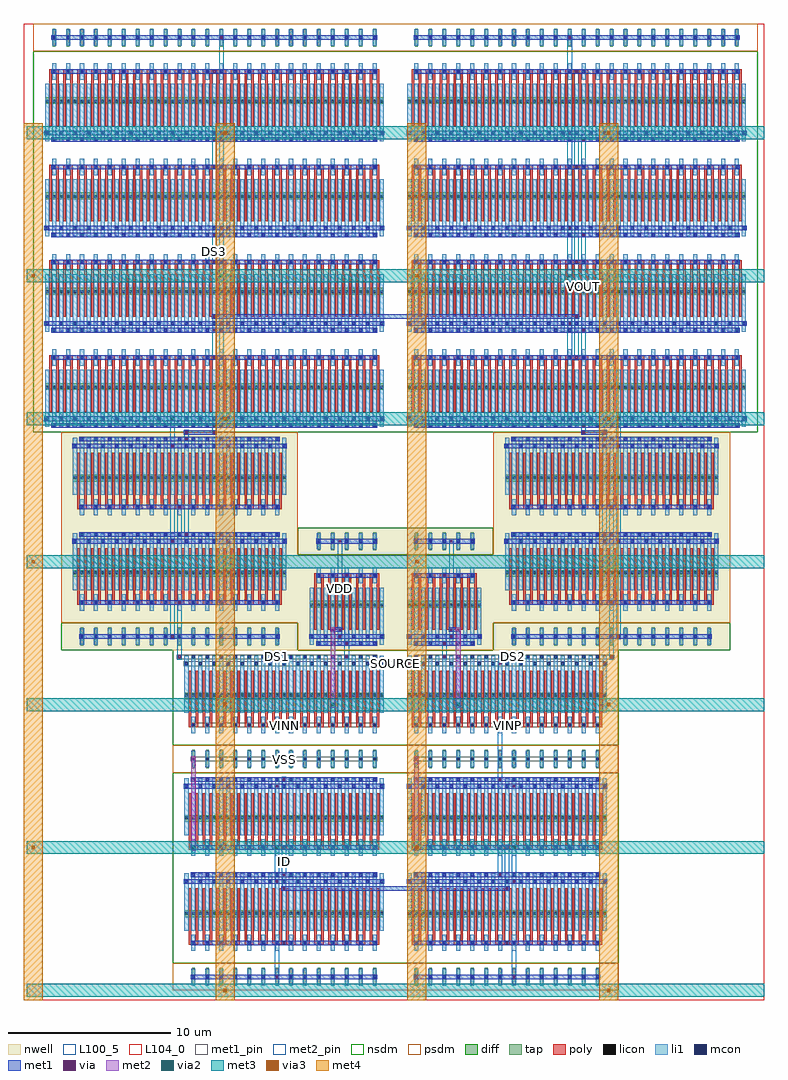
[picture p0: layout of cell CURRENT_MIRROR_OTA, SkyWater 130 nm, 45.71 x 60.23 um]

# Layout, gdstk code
import gdstk
lib = gdstk.Library(unit=1e-6, precision=1e-09)
def R(c, l, rs):  # rectangles x0, y0, x1, y1
    for r in rs: c.add(gdstk.rectangle(r[:2], r[2:], *l))
def A(c, l, x, y, w, h, nx, ny, dx, dy):  # array of equal rectangles
    R(c, l, [(x+i*dx, y+j*dy, x+i*dx+w, y+j*dy+h) for i in range(nx) for j in range(ny)])
nwell = (64, 20)
diff = (65, 20)
tap = (65, 44)
poly = (66, 20)
licon = (66, 44)
li1 = (67, 20)
mcon = (67, 44)
met1_pin = (68, 16)
met1 = (68, 20)
via = (68, 44)
met2_pin = (69, 16)
met2 = (69, 20)
via2 = (69, 44)
met3 = (70, 20)
via3 = (70, 44)
met4 = (71, 20)
nsdm = (93, 44)
psdm = (94, 20)
L100_5 = (100, 5)
L104_0 = (104, 0)

current_mirror_ota = lib.new_cell('CURRENT_MIRROR_OTA')
R(current_mirror_ota, nwell, [(1.72,21,16.34,34.44), (16.34,21,22.36,28.56), (22.36,21,28.38,28.56), (28.38,21,43,34.44)])
A(current_mirror_ota, diff, 0.735, 37.065, 20.89, 0.42, 1, 4, 0, 5.88)
A(current_mirror_ota, diff, 23.095, 37.065, 20.89, 0.42, 1, 4, 0, 5.88)
R(current_mirror_ota, diff, [(9.335,4.515,21.625,4.935), (23.095,4.515,35.385,4.935), (9.335,10.395,21.625,10.815), (23.095,10.395,35.385,10.815), (9.335,17.955,21.625,18.375), (23.095,17.955,35.385,18.375), (17.075,23.625,21.625,24.045), (23.095,23.625,27.645,24.045), (2.455,25.515,15.605,25.935), (29.115,25.515,42.265,25.935), (2.455,31.395,15.605,31.815), (29.115,31.395,42.265,31.815)])
A(current_mirror_ota, tap, 9.805, 0.28, 0.17, 1.12, 14, 2, 0.86, 13.44)
A(current_mirror_ota, tap, 23.565, 0.28, 0.17, 1.12, 14, 2, 0.86, 13.44)
A(current_mirror_ota, tap, 2.925, 21.28, 0.17, 1.12, 15, 1, 0.86, 0)
A(current_mirror_ota, tap, 29.585, 21.28, 0.17, 1.12, 15, 1, 0.86, 0)
A(current_mirror_ota, tap, 17.545, 27.16, 0.17, 1.12, 5, 1, 0.86, 0)
A(current_mirror_ota, tap, 23.565, 27.16, 0.17, 1.12, 5, 1, 0.86, 0)
A(current_mirror_ota, tap, 1.205, 58.24, 0.17, 1.12, 24, 1, 0.86, 0)
A(current_mirror_ota, tap, 23.565, 58.24, 0.17, 1.12, 24, 1, 0.86, 0)
A(current_mirror_ota, poly, 9.6, 2.805, 0.58, 0.27, 14, 2, 0.86, 5.88)
A(current_mirror_ota, poly, 23.36, 2.805, 0.58, 0.27, 14, 2, 0.86, 5.88)
A(current_mirror_ota, poly, 9.6, 2.94, 0.15, 3.36, 28, 2, 0.43, 5.88)
A(current_mirror_ota, poly, 23.36, 2.94, 0.15, 3.36, 28, 2, 0.43, 5.88)
A(current_mirror_ota, poly, 9.6, 16.245, 0.58, 0.27, 14, 1, 0.86, 0)
A(current_mirror_ota, poly, 23.36, 16.245, 0.58, 0.27, 14, 1, 0.86, 0)
A(current_mirror_ota, poly, 9.6, 16.38, 0.15, 3.36, 28, 1, 0.43, 0)
A(current_mirror_ota, poly, 23.36, 16.38, 0.15, 3.36, 28, 1, 0.43, 0)
A(current_mirror_ota, poly, 17.34, 22.26, 0.15, 3.36, 10, 1, 0.43, 0)
A(current_mirror_ota, poly, 23.36, 22.26, 0.15, 3.36, 10, 1, 0.43, 0)
A(current_mirror_ota, poly, 2.72, 23.805, 0.58, 0.27, 15, 2, 0.86, 5.88)
A(current_mirror_ota, poly, 29.38, 23.805, 0.58, 0.27, 15, 2, 0.86, 5.88)
A(current_mirror_ota, poly, 2.72, 23.94, 0.15, 3.36, 30, 2, 0.43, 5.88)
A(current_mirror_ota, poly, 29.38, 23.94, 0.15, 3.36, 30, 2, 0.43, 5.88)
A(current_mirror_ota, poly, 17.34, 25.485, 0.58, 0.27, 5, 1, 0.86, 0)
A(current_mirror_ota, poly, 23.36, 25.485, 0.58, 0.27, 5, 1, 0.86, 0)
A(current_mirror_ota, poly, 1, 35.7, 0.15, 3.36, 48, 4, 0.43, 5.88)
A(current_mirror_ota, poly, 23.36, 35.7, 0.15, 3.36, 48, 4, 0.43, 5.88)
A(current_mirror_ota, poly, 1, 38.925, 0.58, 0.27, 24, 4, 0.86, 5.88)
A(current_mirror_ota, poly, 23.36, 38.925, 0.58, 0.27, 24, 4, 0.86, 5.88)
A(current_mirror_ota, licon, 9.805, 2.855, 0.17, 0.17, 14, 2, 0.86, 5.88)
A(current_mirror_ota, licon, 23.565, 2.855, 0.17, 0.17, 14, 2, 0.86, 5.88)
A(current_mirror_ota, licon, 9.375, 4.685, 0.17, 0.17, 3, 2, 0.43, 5.88)
A(current_mirror_ota, licon, 10.235, 4.685, 0.17, 0.17, 3, 2, 0.43, 5.88)
A(current_mirror_ota, licon, 11.095, 4.685, 0.17, 0.17, 3, 2, 0.43, 5.88)
A(current_mirror_ota, licon, 11.955, 4.685, 0.17, 0.17, 3, 2, 0.43, 5.88)
A(current_mirror_ota, licon, 12.815, 4.685, 0.17, 0.17, 3, 2, 0.43, 5.88)
A(current_mirror_ota, licon, 13.675, 4.685, 0.17, 0.17, 3, 2, 0.43, 5.88)
A(current_mirror_ota, licon, 14.535, 4.685, 0.17, 0.17, 3, 2, 0.43, 5.88)
A(current_mirror_ota, licon, 15.395, 4.685, 0.17, 0.17, 3, 2, 0.43, 5.88)
A(current_mirror_ota, licon, 16.255, 4.685, 0.17, 0.17, 3, 2, 0.43, 5.88)
A(current_mirror_ota, licon, 17.115, 4.685, 0.17, 0.17, 3, 2, 0.43, 5.88)
A(current_mirror_ota, licon, 17.975, 4.685, 0.17, 0.17, 3, 2, 0.43, 5.88)
A(current_mirror_ota, licon, 18.835, 4.685, 0.17, 0.17, 3, 2, 0.43, 5.88)
A(current_mirror_ota, licon, 19.695, 4.685, 0.17, 0.17, 3, 2, 0.43, 5.88)
A(current_mirror_ota, licon, 20.555, 4.685, 0.17, 0.17, 3, 2, 0.43, 5.88)
A(current_mirror_ota, licon, 23.135, 4.685, 0.17, 0.17, 3, 2, 0.43, 5.88)
A(current_mirror_ota, licon, 23.995, 4.685, 0.17, 0.17, 3, 2, 0.43, 5.88)
A(current_mirror_ota, licon, 24.855, 4.685, 0.17, 0.17, 3, 2, 0.43, 5.88)
A(current_mirror_ota, licon, 25.715, 4.685, 0.17, 0.17, 3, 2, 0.43, 5.88)
A(current_mirror_ota, licon, 26.575, 4.685, 0.17, 0.17, 3, 2, 0.43, 5.88)
A(current_mirror_ota, licon, 27.435, 4.685, 0.17, 0.17, 3, 2, 0.43, 5.88)
A(current_mirror_ota, licon, 28.295, 4.685, 0.17, 0.17, 3, 2, 0.43, 5.88)
A(current_mirror_ota, licon, 29.155, 4.685, 0.17, 0.17, 3, 2, 0.43, 5.88)
A(current_mirror_ota, licon, 30.015, 4.685, 0.17, 0.17, 3, 2, 0.43, 5.88)
A(current_mirror_ota, licon, 30.875, 4.685, 0.17, 0.17, 3, 2, 0.43, 5.88)
A(current_mirror_ota, licon, 31.735, 4.685, 0.17, 0.17, 3, 2, 0.43, 5.88)
A(current_mirror_ota, licon, 32.595, 4.685, 0.17, 0.17, 3, 2, 0.43, 5.88)
A(current_mirror_ota, licon, 33.455, 4.685, 0.17, 0.17, 3, 2, 0.43, 5.88)
A(current_mirror_ota, licon, 34.315, 4.685, 0.17, 0.17, 3, 2, 0.43, 5.88)
A(current_mirror_ota, licon, 9.805, 14.195, 0.17, 0.17, 14, 2, 0.86, 2.1)
A(current_mirror_ota, licon, 23.565, 14.195, 0.17, 0.17, 14, 2, 0.86, 2.1)
A(current_mirror_ota, licon, 9.375, 18.125, 0.17, 0.17, 3, 2, 0.43, 7.56)
A(current_mirror_ota, licon, 10.235, 18.125, 0.17, 0.17, 3, 2, 0.43, 7.56)
A(current_mirror_ota, licon, 11.095, 18.125, 0.17, 0.17, 3, 2, 0.43, 7.56)
A(current_mirror_ota, licon, 11.955, 18.125, 0.17, 0.17, 3, 2, 0.43, 7.56)
A(current_mirror_ota, licon, 12.815, 18.125, 0.17, 0.17, 3, 2, 0.43, 7.56)
A(current_mirror_ota, licon, 13.675, 18.125, 0.17, 0.17, 3, 2, 0.43, 7.56)
A(current_mirror_ota, licon, 14.535, 18.125, 0.17, 0.17, 3, 2, 0.43, 7.56)
A(current_mirror_ota, licon, 15.395, 18.125, 0.17, 0.17, 3, 2, 0.43, 19.02)
A(current_mirror_ota, licon, 16.255, 18.125, 0.17, 0.17, 3, 2, 0.43, 19.02)
A(current_mirror_ota, licon, 17.115, 18.125, 0.17, 0.17, 3, 2, 0.43, 5.58)
A(current_mirror_ota, licon, 17.975, 18.125, 0.17, 0.17, 3, 2, 0.43, 5.58)
A(current_mirror_ota, licon, 18.835, 18.125, 0.17, 0.17, 3, 2, 0.43, 5.58)
A(current_mirror_ota, licon, 19.695, 18.125, 0.17, 0.17, 3, 2, 0.43, 5.58)
A(current_mirror_ota, licon, 20.555, 18.125, 0.17, 0.17, 3, 2, 0.43, 5.58)
A(current_mirror_ota, licon, 23.135, 18.125, 0.17, 0.17, 3, 2, 0.43, 5.58)
A(current_mirror_ota, licon, 23.995, 18.125, 0.17, 0.17, 3, 2, 0.43, 5.58)
A(current_mirror_ota, licon, 24.855, 18.125, 0.17, 0.17, 3, 2, 0.43, 5.58)
A(current_mirror_ota, licon, 25.715, 18.125, 0.17, 0.17, 3, 2, 0.43, 5.58)
A(current_mirror_ota, licon, 26.575, 18.125, 0.17, 0.17, 3, 2, 0.43, 5.58)
A(current_mirror_ota, licon, 27.435, 18.125, 0.17, 0.17, 3, 2, 0.43, 19.02)
A(current_mirror_ota, licon, 28.295, 18.125, 0.17, 0.17, 3, 2, 0.43, 19.02)
A(current_mirror_ota, licon, 29.155, 18.125, 0.17, 0.17, 3, 2, 0.43, 7.56)
A(current_mirror_ota, licon, 30.015, 18.125, 0.17, 0.17, 3, 2, 0.43, 7.56)
A(current_mirror_ota, licon, 30.875, 18.125, 0.17, 0.17, 3, 2, 0.43, 7.56)
A(current_mirror_ota, licon, 31.735, 18.125, 0.17, 0.17, 3, 2, 0.43, 7.56)
A(current_mirror_ota, licon, 32.595, 18.125, 0.17, 0.17, 3, 2, 0.43, 7.56)
A(current_mirror_ota, licon, 33.455, 18.125, 0.17, 0.17, 3, 2, 0.43, 7.56)
A(current_mirror_ota, licon, 34.315, 18.125, 0.17, 0.17, 3, 2, 0.43, 7.56)
A(current_mirror_ota, licon, 2.925, 23.855, 0.17, 0.17, 15, 2, 0.86, 5.88)
A(current_mirror_ota, licon, 29.585, 23.855, 0.17, 0.17, 15, 2, 0.86, 5.88)
A(current_mirror_ota, licon, 17.545, 25.535, 0.17, 0.17, 5, 2, 0.86, 2.1)
A(current_mirror_ota, licon, 23.565, 25.535, 0.17, 0.17, 5, 2, 0.86, 2.1)
A(current_mirror_ota, licon, 2.495, 25.685, 0.17, 0.17, 3, 2, 0.43, 5.88)
A(current_mirror_ota, licon, 3.355, 25.685, 0.17, 0.17, 3, 2, 0.43, 5.88)
A(current_mirror_ota, licon, 4.215, 25.685, 0.17, 0.17, 3, 2, 0.43, 5.88)
A(current_mirror_ota, licon, 5.075, 25.685, 0.17, 0.17, 3, 2, 0.43, 5.88)
A(current_mirror_ota, licon, 5.935, 25.685, 0.17, 0.17, 3, 2, 0.43, 5.88)
A(current_mirror_ota, licon, 6.795, 25.685, 0.17, 0.17, 3, 2, 0.43, 5.88)
A(current_mirror_ota, licon, 7.655, 25.685, 0.17, 0.17, 3, 2, 0.43, 5.88)
A(current_mirror_ota, licon, 8.515, 25.685, 0.17, 0.17, 3, 2, 0.43, 5.88)
A(current_mirror_ota, licon, 35.175, 25.685, 0.17, 0.17, 3, 2, 0.43, 5.88)
A(current_mirror_ota, licon, 36.035, 25.685, 0.17, 0.17, 3, 2, 0.43, 5.88)
A(current_mirror_ota, licon, 36.895, 25.685, 0.17, 0.17, 3, 2, 0.43, 5.88)
A(current_mirror_ota, licon, 37.755, 25.685, 0.17, 0.17, 3, 2, 0.43, 5.88)
A(current_mirror_ota, licon, 38.615, 25.685, 0.17, 0.17, 3, 2, 0.43, 5.88)
A(current_mirror_ota, licon, 39.475, 25.685, 0.17, 0.17, 3, 2, 0.43, 5.88)
A(current_mirror_ota, licon, 40.335, 25.685, 0.17, 0.17, 3, 2, 0.43, 5.88)
A(current_mirror_ota, licon, 41.195, 25.685, 0.17, 0.17, 3, 2, 0.43, 5.88)
A(current_mirror_ota, licon, 9.375, 31.565, 0.17, 0.17, 3, 2, 0.43, 5.58)
A(current_mirror_ota, licon, 10.235, 31.565, 0.17, 0.17, 3, 2, 0.43, 5.58)
A(current_mirror_ota, licon, 11.095, 31.565, 0.17, 0.17, 3, 2, 0.43, 5.58)
A(current_mirror_ota, licon, 11.955, 31.565, 0.17, 0.17, 3, 2, 0.43, 5.58)
A(current_mirror_ota, licon, 12.815, 31.565, 0.17, 0.17, 3, 2, 0.43, 5.58)
A(current_mirror_ota, licon, 13.675, 31.565, 0.17, 0.17, 3, 2, 0.43, 5.58)
A(current_mirror_ota, licon, 14.535, 31.565, 0.17, 0.17, 3, 2, 0.43, 5.58)
A(current_mirror_ota, licon, 29.155, 31.565, 0.17, 0.17, 3, 2, 0.43, 5.58)
A(current_mirror_ota, licon, 30.015, 31.565, 0.17, 0.17, 3, 2, 0.43, 5.58)
A(current_mirror_ota, licon, 30.875, 31.565, 0.17, 0.17, 3, 2, 0.43, 5.58)
A(current_mirror_ota, licon, 31.735, 31.565, 0.17, 0.17, 3, 2, 0.43, 5.58)
A(current_mirror_ota, licon, 32.595, 31.565, 0.17, 0.17, 3, 2, 0.43, 5.58)
A(current_mirror_ota, licon, 33.455, 31.565, 0.17, 0.17, 3, 2, 0.43, 5.58)
A(current_mirror_ota, licon, 34.315, 31.565, 0.17, 0.17, 3, 2, 0.43, 5.58)
A(current_mirror_ota, licon, 0.775, 37.145, 0.17, 0.17, 3, 4, 0.43, 5.88)
A(current_mirror_ota, licon, 1.635, 37.145, 0.17, 0.17, 3, 4, 0.43, 5.88)
A(current_mirror_ota, licon, 2.495, 37.145, 0.17, 0.17, 3, 4, 0.43, 5.88)
A(current_mirror_ota, licon, 3.355, 37.145, 0.17, 0.17, 3, 4, 0.43, 5.88)
A(current_mirror_ota, licon, 4.215, 37.145, 0.17, 0.17, 3, 4, 0.43, 5.88)
A(current_mirror_ota, licon, 5.075, 37.145, 0.17, 0.17, 3, 4, 0.43, 5.88)
A(current_mirror_ota, licon, 5.935, 37.145, 0.17, 0.17, 3, 4, 0.43, 5.88)
A(current_mirror_ota, licon, 6.795, 37.145, 0.17, 0.17, 3, 4, 0.43, 5.88)
A(current_mirror_ota, licon, 7.655, 37.145, 0.17, 0.17, 3, 4, 0.43, 5.88)
A(current_mirror_ota, licon, 8.515, 37.145, 0.17, 0.17, 3, 4, 0.43, 5.88)
A(current_mirror_ota, licon, 17.115, 37.145, 0.17, 0.17, 3, 4, 0.43, 5.88)
A(current_mirror_ota, licon, 17.975, 37.145, 0.17, 0.17, 3, 4, 0.43, 5.88)
A(current_mirror_ota, licon, 18.835, 37.145, 0.17, 0.17, 3, 4, 0.43, 5.88)
A(current_mirror_ota, licon, 19.695, 37.145, 0.17, 0.17, 3, 4, 0.43, 5.88)
A(current_mirror_ota, licon, 20.555, 37.145, 0.17, 0.17, 3, 4, 0.43, 5.88)
A(current_mirror_ota, licon, 23.135, 37.145, 0.17, 0.17, 3, 4, 0.43, 5.88)
A(current_mirror_ota, licon, 23.995, 37.145, 0.17, 0.17, 3, 4, 0.43, 5.88)
A(current_mirror_ota, licon, 24.855, 37.145, 0.17, 0.17, 3, 4, 0.43, 5.88)
A(current_mirror_ota, licon, 25.715, 37.145, 0.17, 0.17, 3, 4, 0.43, 5.88)
A(current_mirror_ota, licon, 26.575, 37.145, 0.17, 0.17, 3, 4, 0.43, 5.88)
A(current_mirror_ota, licon, 35.175, 37.145, 0.17, 0.17, 3, 4, 0.43, 5.88)
A(current_mirror_ota, licon, 36.035, 37.145, 0.17, 0.17, 3, 4, 0.43, 5.88)
A(current_mirror_ota, licon, 36.895, 37.145, 0.17, 0.17, 3, 4, 0.43, 5.88)
A(current_mirror_ota, licon, 37.755, 37.145, 0.17, 0.17, 3, 4, 0.43, 5.88)
A(current_mirror_ota, licon, 38.615, 37.145, 0.17, 0.17, 3, 4, 0.43, 5.88)
A(current_mirror_ota, licon, 39.475, 37.145, 0.17, 0.17, 3, 4, 0.43, 5.88)
A(current_mirror_ota, licon, 40.335, 37.145, 0.17, 0.17, 3, 4, 0.43, 5.88)
A(current_mirror_ota, licon, 41.195, 37.145, 0.17, 0.17, 3, 4, 0.43, 5.88)
A(current_mirror_ota, licon, 42.055, 37.145, 0.17, 0.17, 3, 4, 0.43, 5.88)
A(current_mirror_ota, licon, 42.915, 37.145, 0.17, 0.17, 3, 4, 0.43, 5.88)
A(current_mirror_ota, licon, 1.205, 38.975, 0.17, 0.17, 24, 4, 0.86, 5.88)
A(current_mirror_ota, licon, 23.565, 38.975, 0.17, 0.17, 24, 4, 0.86, 5.88)
A(current_mirror_ota, licon, 9.375, 43.025, 0.17, 0.17, 3, 3, 0.43, 5.88)
A(current_mirror_ota, licon, 10.235, 43.025, 0.17, 0.17, 3, 3, 0.43, 5.88)
A(current_mirror_ota, licon, 11.095, 43.025, 0.17, 0.17, 3, 3, 0.43, 5.88)
A(current_mirror_ota, licon, 11.955, 43.025, 0.17, 0.17, 3, 3, 0.43, 5.88)
A(current_mirror_ota, licon, 12.815, 43.025, 0.17, 0.17, 3, 3, 0.43, 5.88)
A(current_mirror_ota, licon, 13.675, 43.025, 0.17, 0.17, 3, 3, 0.43, 5.88)
A(current_mirror_ota, licon, 14.535, 43.025, 0.17, 0.17, 3, 3, 0.43, 5.88)
A(current_mirror_ota, licon, 15.395, 43.025, 0.17, 0.17, 3, 3, 0.43, 5.88)
A(current_mirror_ota, licon, 16.255, 43.025, 0.17, 0.17, 3, 3, 0.43, 5.88)
A(current_mirror_ota, licon, 27.435, 43.025, 0.17, 0.17, 3, 3, 0.43, 5.88)
A(current_mirror_ota, licon, 28.295, 43.025, 0.17, 0.17, 3, 3, 0.43, 5.88)
A(current_mirror_ota, licon, 29.155, 43.025, 0.17, 0.17, 3, 3, 0.43, 5.88)
A(current_mirror_ota, licon, 30.015, 43.025, 0.17, 0.17, 3, 3, 0.43, 5.88)
A(current_mirror_ota, licon, 30.875, 43.025, 0.17, 0.17, 3, 3, 0.43, 5.88)
A(current_mirror_ota, licon, 31.735, 43.025, 0.17, 0.17, 3, 3, 0.43, 5.88)
A(current_mirror_ota, licon, 32.595, 43.025, 0.17, 0.17, 3, 3, 0.43, 5.88)
A(current_mirror_ota, licon, 33.455, 43.025, 0.17, 0.17, 3, 3, 0.43, 5.88)
A(current_mirror_ota, licon, 34.315, 43.025, 0.17, 0.17, 3, 3, 0.43, 5.88)
R(current_mirror_ota, licon, [(9.805,0.755,9.975,0.925), (9.805,0.755,9.975,0.925), (10.665,0.755,10.835,0.925), (10.665,0.755,10.835,0.925), (11.525,0.755,11.695,0.925), (11.525,0.755,11.695,0.925), (12.385,0.755,12.555,0.925), (12.385,0.755,12.555,0.925), (13.245,0.755,13.415,0.925), (13.245,0.755,13.415,0.925), (14.105,0.755,14.275,0.925), (14.105,0.755,14.275,0.925), (14.965,0.755,15.135,0.925), (14.965,0.755,15.135,0.925), (15.825,0.755,15.995,0.925), (15.825,0.755,15.995,0.925), (16.685,0.755,16.855,0.925), (16.685,0.755,16.855,0.925), (17.545,0.755,17.715,0.925), (17.545,0.755,17.715,0.925), (18.405,0.755,18.575,0.925), (18.405,0.755,18.575,0.925), (19.265,0.755,19.435,0.925), (19.265,0.755,19.435,0.925), (20.125,0.755,20.295,0.925), (20.125,0.755,20.295,0.925), (20.985,0.755,21.155,0.925), (20.985,0.755,21.155,0.925), (23.565,0.755,23.735,0.925), (23.565,0.755,23.735,0.925), (24.425,0.755,24.595,0.925), (24.425,0.755,24.595,0.925), (25.285,0.755,25.455,0.925), (25.285,0.755,25.455,0.925), (26.145,0.755,26.315,0.925), (26.145,0.755,26.315,0.925), (27.005,0.755,27.175,0.925), (27.005,0.755,27.175,0.925), (27.865,0.755,28.035,0.925), (27.865,0.755,28.035,0.925), (28.725,0.755,28.895,0.925), (28.725,0.755,28.895,0.925), (29.585,0.755,29.755,0.925), (29.585,0.755,29.755,0.925), (30.445,0.755,30.615,0.925), (30.445,0.755,30.615,0.925), (31.305,0.755,31.475,0.925), (31.305,0.755,31.475,0.925), (32.165,0.755,32.335,0.925), (32.165,0.755,32.335,0.925), (33.025,0.755,33.195,0.925), (33.025,0.755,33.195,0.925), (33.885,0.755,34.055,0.925), (33.885,0.755,34.055,0.925), (34.745,0.755,34.915,0.925), (34.745,0.755,34.915,0.925), (2.925,21.755,3.095,21.925), (2.925,21.755,3.095,21.925), (3.785,21.755,3.955,21.925), (3.785,21.755,3.955,21.925), (4.645,21.755,4.815,21.925), (4.645,21.755,4.815,21.925), (5.505,21.755,5.675,21.925), (5.505,21.755,5.675,21.925), (6.365,21.755,6.535,21.925), (6.365,21.755,6.535,21.925), (7.225,21.755,7.395,21.925), (7.225,21.755,7.395,21.925), (8.085,21.755,8.255,21.925), (8.085,21.755,8.255,21.925), (8.945,21.755,9.115,21.925), (8.945,21.755,9.115,21.925), (9.805,21.755,9.975,21.925), (9.805,21.755,9.975,21.925), (10.665,21.755,10.835,21.925), (10.665,21.755,10.835,21.925), (11.525,21.755,11.695,21.925), (11.525,21.755,11.695,21.925), (12.385,21.755,12.555,21.925), (12.385,21.755,12.555,21.925), (13.245,21.755,13.415,21.925), (13.245,21.755,13.415,21.925), (14.105,21.755,14.275,21.925), (14.105,21.755,14.275,21.925), (14.965,21.755,15.135,21.925), (14.965,21.755,15.135,21.925), (29.585,21.755,29.755,21.925), (29.585,21.755,29.755,21.925), (30.445,21.755,30.615,21.925), (30.445,21.755,30.615,21.925), (31.305,21.755,31.475,21.925), (31.305,21.755,31.475,21.925), (32.165,21.755,32.335,21.925), (32.165,21.755,32.335,21.925), (33.025,21.755,33.195,21.925), (33.025,21.755,33.195,21.925), (33.885,21.755,34.055,21.925), (33.885,21.755,34.055,21.925), (34.745,21.755,34.915,21.925), (34.745,21.755,34.915,21.925), (35.605,21.755,35.775,21.925), (35.605,21.755,35.775,21.925), (36.465,21.755,36.635,21.925), (36.465,21.755,36.635,21.925), (37.325,21.755,37.495,21.925), (37.325,21.755,37.495,21.925), (38.185,21.755,38.355,21.925), (38.185,21.755,38.355,21.925), (39.045,21.755,39.215,21.925), (39.045,21.755,39.215,21.925), (39.905,21.755,40.075,21.925), (39.905,21.755,40.075,21.925), (40.765,21.755,40.935,21.925), (40.765,21.755,40.935,21.925), (41.625,21.755,41.795,21.925), (41.625,21.755,41.795,21.925), (1.205,58.715,1.375,58.885), (1.205,58.715,1.375,58.885), (1.205,58.715,1.375,58.885), (1.205,58.715,1.375,58.885), (2.065,58.715,2.235,58.885), (2.065,58.715,2.235,58.885), (2.065,58.715,2.235,58.885), (2.065,58.715,2.235,58.885), (2.925,58.715,3.095,58.885), (2.925,58.715,3.095,58.885), (2.925,58.715,3.095,58.885), (2.925,58.715,3.095,58.885), (3.785,58.715,3.955,58.885), (3.785,58.715,3.955,58.885), (3.785,58.715,3.955,58.885), (3.785,58.715,3.955,58.885), (4.645,58.715,4.815,58.885), (4.645,58.715,4.815,58.885), (4.645,58.715,4.815,58.885), (4.645,58.715,4.815,58.885), (5.505,58.715,5.675,58.885), (5.505,58.715,5.675,58.885), (5.505,58.715,5.675,58.885), (5.505,58.715,5.675,58.885), (6.365,58.715,6.535,58.885), (6.365,58.715,6.535,58.885), (6.365,58.715,6.535,58.885), (6.365,58.715,6.535,58.885), (7.225,58.715,7.395,58.885), (7.225,58.715,7.395,58.885), (7.225,58.715,7.395,58.885), (7.225,58.715,7.395,58.885), (8.085,58.715,8.255,58.885), (8.085,58.715,8.255,58.885), (8.085,58.715,8.255,58.885), (8.085,58.715,8.255,58.885), (8.945,58.715,9.115,58.885), (8.945,58.715,9.115,58.885), (8.945,58.715,9.115,58.885), (8.945,58.715,9.115,58.885), (9.805,58.715,9.975,58.885), (9.805,58.715,9.975,58.885), (9.805,58.715,9.975,58.885), (9.805,58.715,9.975,58.885), (10.665,58.715,10.835,58.885), (10.665,58.715,10.835,58.885), (10.665,58.715,10.835,58.885), (10.665,58.715,10.835,58.885), (11.525,58.715,11.695,58.885), (11.525,58.715,11.695,58.885), (11.525,58.715,11.695,58.885), (11.525,58.715,11.695,58.885), (12.385,58.715,12.555,58.885), (12.385,58.715,12.555,58.885), (12.385,58.715,12.555,58.885), (12.385,58.715,12.555,58.885), (13.245,58.715,13.415,58.885), (13.245,58.715,13.415,58.885), (13.245,58.715,13.415,58.885), (13.245,58.715,13.415,58.885), (14.105,58.715,14.275,58.885), (14.105,58.715,14.275,58.885), (14.105,58.715,14.275,58.885), (14.105,58.715,14.275,58.885), (14.965,58.715,15.135,58.885), (14.965,58.715,15.135,58.885), (14.965,58.715,15.135,58.885), (14.965,58.715,15.135,58.885), (15.825,58.715,15.995,58.885), (15.825,58.715,15.995,58.885), (15.825,58.715,15.995,58.885), (15.825,58.715,15.995,58.885), (16.685,58.715,16.855,58.885), (16.685,58.715,16.855,58.885), (16.685,58.715,16.855,58.885), (16.685,58.715,16.855,58.885), (17.545,58.715,17.715,58.885), (17.545,58.715,17.715,58.885), (17.545,58.715,17.715,58.885), (17.545,58.715,17.715,58.885), (18.405,58.715,18.575,58.885), (18.405,58.715,18.575,58.885), (18.405,58.715,18.575,58.885), (18.405,58.715,18.575,58.885), (19.265,58.715,19.435,58.885), (19.265,58.715,19.435,58.885), (19.265,58.715,19.435,58.885), (19.265,58.715,19.435,58.885), (20.125,58.715,20.295,58.885), (20.125,58.715,20.295,58.885), (20.125,58.715,20.295,58.885), (20.125,58.715,20.295,58.885), (20.985,58.715,21.155,58.885), (20.985,58.715,21.155,58.885), (20.985,58.715,21.155,58.885), (20.985,58.715,21.155,58.885), (23.565,58.715,23.735,58.885), (23.565,58.715,23.735,58.885), (23.565,58.715,23.735,58.885), (23.565,58.715,23.735,58.885), (24.425,58.715,24.595,58.885), (24.425,58.715,24.595,58.885), (24.425,58.715,24.595,58.885), (24.425,58.715,24.595,58.885), (25.285,58.715,25.455,58.885), (25.285,58.715,25.455,58.885), (25.285,58.715,25.455,58.885), (25.285,58.715,25.455,58.885), (26.145,58.715,26.315,58.885), (26.145,58.715,26.315,58.885), (26.145,58.715,26.315,58.885), (26.145,58.715,26.315,58.885), (27.005,58.715,27.175,58.885), (27.005,58.715,27.175,58.885), (27.005,58.715,27.175,58.885), (27.005,58.715,27.175,58.885), (27.865,58.715,28.035,58.885), (27.865,58.715,28.035,58.885), (27.865,58.715,28.035,58.885), (27.865,58.715,28.035,58.885), (28.725,58.715,28.895,58.885), (28.725,58.715,28.895,58.885), (28.725,58.715,28.895,58.885), (28.725,58.715,28.895,58.885), (29.585,58.715,29.755,58.885), (29.585,58.715,29.755,58.885), (29.585,58.715,29.755,58.885), (29.585,58.715,29.755,58.885), (30.445,58.715,30.615,58.885), (30.445,58.715,30.615,58.885), (30.445,58.715,30.615,58.885), (30.445,58.715,30.615,58.885), (31.305,58.715,31.475,58.885), (31.305,58.715,31.475,58.885), (31.305,58.715,31.475,58.885), (31.305,58.715,31.475,58.885), (32.165,58.715,32.335,58.885), (32.165,58.715,32.335,58.885), (32.165,58.715,32.335,58.885), (32.165,58.715,32.335,58.885), (33.025,58.715,33.195,58.885), (33.025,58.715,33.195,58.885), (33.025,58.715,33.195,58.885), (33.025,58.715,33.195,58.885), (33.885,58.715,34.055,58.885), (33.885,58.715,34.055,58.885), (33.885,58.715,34.055,58.885), (33.885,58.715,34.055,58.885), (34.745,58.715,34.915,58.885), (34.745,58.715,34.915,58.885), (34.745,58.715,34.915,58.885), (34.745,58.715,34.915,58.885), (35.605,58.715,35.775,58.885), (35.605,58.715,35.775,58.885), (35.605,58.715,35.775,58.885), (35.605,58.715,35.775,58.885), (36.465,58.715,36.635,58.885), (36.465,58.715,36.635,58.885), (36.465,58.715,36.635,58.885), (36.465,58.715,36.635,58.885), (37.325,58.715,37.495,58.885), (37.325,58.715,37.495,58.885), (37.325,58.715,37.495,58.885), (37.325,58.715,37.495,58.885), (38.185,58.715,38.355,58.885), (38.185,58.715,38.355,58.885), (38.185,58.715,38.355,58.885), (38.185,58.715,38.355,58.885), (39.045,58.715,39.215,58.885), (39.045,58.715,39.215,58.885), (39.045,58.715,39.215,58.885), (39.045,58.715,39.215,58.885), (39.905,58.715,40.075,58.885), (39.905,58.715,40.075,58.885), (39.905,58.715,40.075,58.885), (39.905,58.715,40.075,58.885), (40.765,58.715,40.935,58.885), (40.765,58.715,40.935,58.885), (40.765,58.715,40.935,58.885), (40.765,58.715,40.935,58.885), (41.625,58.715,41.795,58.885), (41.625,58.715,41.795,58.885), (41.625,58.715,41.795,58.885), (41.625,58.715,41.795,58.885), (42.485,58.715,42.655,58.885), (42.485,58.715,42.655,58.885), (42.485,58.715,42.655,58.885), (42.485,58.715,42.655,58.885), (43.345,58.715,43.515,58.885), (43.345,58.715,43.515,58.885), (43.345,58.715,43.515,58.885), (43.345,58.715,43.515,58.885)])
A(current_mirror_ota, li1, 9.765, 0.335, 0.25, 1.01, 14, 2, 0.86, 2.1)
A(current_mirror_ota, li1, 23.525, 0.335, 0.25, 1.01, 14, 2, 0.86, 2.1)
A(current_mirror_ota, li1, 9.335, 3.695, 0.25, 3.53, 29, 2, 0.43, 5.88)
A(current_mirror_ota, li1, 23.095, 3.695, 0.25, 3.53, 29, 2, 0.43, 5.88)
A(current_mirror_ota, li1, 9.765, 8.315, 0.25, 1.01, 14, 2, 0.86, 5.46)
A(current_mirror_ota, li1, 23.525, 8.315, 0.25, 1.01, 14, 2, 0.86, 5.46)
A(current_mirror_ota, li1, 9.765, 15.875, 0.25, 1.01, 14, 1, 0.86, 0)
A(current_mirror_ota, li1, 23.525, 15.875, 0.25, 1.01, 14, 1, 0.86, 0)
A(current_mirror_ota, li1, 9.335, 17.135, 0.25, 3.53, 29, 1, 0.43, 0)
A(current_mirror_ota, li1, 23.095, 17.135, 0.25, 3.53, 29, 1, 0.43, 0)
A(current_mirror_ota, li1, 2.885, 21.335, 0.25, 1.01, 15, 2, 0.86, 2.1)
A(current_mirror_ota, li1, 17.075, 21.335, 0.25, 3.53, 11, 1, 0.43, 0)
A(current_mirror_ota, li1, 23.095, 21.335, 0.25, 3.53, 11, 1, 0.43, 0)
A(current_mirror_ota, li1, 29.545, 21.335, 0.25, 1.01, 15, 2, 0.86, 2.1)
A(current_mirror_ota, li1, 2.455, 24.695, 0.25, 3.53, 31, 2, 0.43, 5.88)
A(current_mirror_ota, li1, 29.115, 24.695, 0.25, 3.53, 31, 2, 0.43, 5.88)
A(current_mirror_ota, li1, 17.505, 25.115, 0.25, 1.01, 5, 2, 0.86, 2.1)
A(current_mirror_ota, li1, 23.525, 25.115, 0.25, 1.01, 5, 2, 0.86, 2.1)
A(current_mirror_ota, li1, 2.885, 29.315, 0.25, 1.01, 15, 1, 0.86, 0)
A(current_mirror_ota, li1, 29.545, 29.315, 0.25, 1.01, 15, 1, 0.86, 0)
A(current_mirror_ota, li1, 0.735, 34.775, 0.25, 3.53, 49, 4, 0.43, 5.88)
A(current_mirror_ota, li1, 23.095, 34.775, 0.25, 3.53, 49, 4, 0.43, 5.88)
A(current_mirror_ota, li1, 1.165, 38.555, 0.25, 1.01, 24, 4, 0.86, 5.88)
A(current_mirror_ota, li1, 23.525, 38.555, 0.25, 1.01, 24, 4, 0.86, 5.88)
A(current_mirror_ota, li1, 1.165, 58.295, 0.25, 1.01, 24, 1, 0.86, 0)
A(current_mirror_ota, li1, 23.525, 58.295, 0.25, 1.01, 24, 1, 0.86, 0)
A(current_mirror_ota, mcon, 9.805, 0.755, 0.17, 0.17, 14, 2, 0.86, 2.1)
A(current_mirror_ota, mcon, 23.565, 0.755, 0.17, 0.17, 14, 2, 0.86, 2.1)
A(current_mirror_ota, mcon, 9.375, 6.635, 0.17, 0.17, 15, 2, 0.86, 5.88)
A(current_mirror_ota, mcon, 23.135, 6.635, 0.17, 0.17, 15, 2, 0.86, 5.88)
A(current_mirror_ota, mcon, 9.805, 7.055, 0.17, 0.17, 14, 2, 0.86, 1.68)
A(current_mirror_ota, mcon, 23.565, 7.055, 0.17, 0.17, 14, 2, 0.86, 1.68)
A(current_mirror_ota, mcon, 9.805, 12.935, 0.17, 0.17, 14, 2, 0.86, 1.26)
A(current_mirror_ota, mcon, 23.565, 12.935, 0.17, 0.17, 14, 2, 0.86, 1.26)
A(current_mirror_ota, mcon, 9.805, 16.295, 0.17, 0.17, 14, 2, 0.86, 4.2)
A(current_mirror_ota, mcon, 23.565, 16.295, 0.17, 0.17, 14, 2, 0.86, 4.2)
A(current_mirror_ota, mcon, 9.375, 20.075, 0.17, 0.17, 15, 1, 0.86, 0)
A(current_mirror_ota, mcon, 23.135, 20.075, 0.17, 0.17, 15, 1, 0.86, 0)
A(current_mirror_ota, mcon, 17.545, 21.335, 0.17, 0.17, 5, 2, 0.86, 4.2)
A(current_mirror_ota, mcon, 23.565, 21.335, 0.17, 0.17, 5, 2, 0.86, 4.2)
A(current_mirror_ota, mcon, 2.925, 21.755, 0.17, 0.17, 15, 2, 0.86, 2.1)
A(current_mirror_ota, mcon, 17.115, 21.755, 0.17, 0.17, 6, 1, 0.86, 0)
A(current_mirror_ota, mcon, 23.135, 21.755, 0.17, 0.17, 6, 1, 0.86, 0)
A(current_mirror_ota, mcon, 29.585, 21.755, 0.17, 0.17, 15, 2, 0.86, 2.1)
A(current_mirror_ota, mcon, 2.495, 27.635, 0.17, 0.17, 16, 2, 0.86, 5.88)
A(current_mirror_ota, mcon, 17.545, 27.635, 0.17, 0.17, 5, 1, 0.86, 0)
A(current_mirror_ota, mcon, 23.565, 27.635, 0.17, 0.17, 5, 1, 0.86, 0)
A(current_mirror_ota, mcon, 29.155, 27.635, 0.17, 0.17, 16, 2, 0.86, 5.88)
A(current_mirror_ota, mcon, 2.925, 28.055, 0.17, 0.17, 15, 2, 0.86, 1.68)
A(current_mirror_ota, mcon, 29.585, 28.055, 0.17, 0.17, 15, 2, 0.86, 1.68)
A(current_mirror_ota, mcon, 2.925, 33.935, 0.17, 0.17, 15, 1, 0.86, 0)
A(current_mirror_ota, mcon, 29.585, 33.935, 0.17, 0.17, 15, 1, 0.86, 0)
A(current_mirror_ota, mcon, 1.205, 34.775, 0.17, 0.17, 24, 2, 0.86, 4.2)
A(current_mirror_ota, mcon, 23.565, 34.775, 0.17, 0.17, 24, 2, 0.86, 4.2)
A(current_mirror_ota, mcon, 0.775, 35.195, 0.17, 0.17, 25, 4, 0.86, 5.88)
A(current_mirror_ota, mcon, 23.135, 35.195, 0.17, 0.17, 25, 4, 0.86, 5.88)
A(current_mirror_ota, mcon, 1.205, 40.655, 0.17, 0.17, 24, 2, 0.86, 4.2)
A(current_mirror_ota, mcon, 23.565, 40.655, 0.17, 0.17, 24, 2, 0.86, 4.2)
A(current_mirror_ota, mcon, 1.205, 46.535, 0.17, 0.17, 24, 2, 0.86, 4.2)
A(current_mirror_ota, mcon, 23.565, 46.535, 0.17, 0.17, 24, 2, 0.86, 4.2)
A(current_mirror_ota, mcon, 1.205, 52.415, 0.17, 0.17, 24, 2, 0.86, 4.2)
A(current_mirror_ota, mcon, 23.565, 52.415, 0.17, 0.17, 24, 2, 0.86, 4.2)
A(current_mirror_ota, mcon, 1.205, 58.715, 0.17, 0.17, 24, 1, 0.86, 0)
A(current_mirror_ota, mcon, 23.565, 58.715, 0.17, 0.17, 24, 1, 0.86, 0)
R(current_mirror_ota, met1_pin, [(9.72,14.14,21.24,14.42), (23.48,14.14,35,14.42), (9.72,16.24,21.24,16.52), (23.48,16.24,35,16.52), (9.29,20.02,35.43,20.3), (8.87,20.44,21.24,20.72), (23.48,20.44,35.85,20.72)])
A(current_mirror_ota, met1, 0.69, 35.14, 20.98, 0.28, 1, 4, 0, 5.88)
A(current_mirror_ota, met1, 23.05, 35.14, 20.98, 0.28, 1, 4, 0, 5.88)
R(current_mirror_ota, met1, [(9.72,0.7,21.24,0.98), (23.48,0.7,35,0.98), (9.72,2.8,21.24,3.08), (23.48,2.8,35,3.08), (15.32,6.16,29.4,6.44), (9.29,6.58,21.67,6.86), (23.05,6.58,35.43,6.86), (9.72,7,21.24,7.28), (23.48,7,35,7.28), (9.72,8.68,21.24,8.96), (23.48,8.68,35,8.96), (9.29,12.46,21.67,12.74), (23.05,12.46,35.43,12.74), (9.72,12.88,21.24,13.16), (23.48,12.88,35,13.16), (17.46,21.28,21.24,21.56), (23.48,21.28,27.26,21.56), (2.84,21.7,15.22,21.98), (17.03,21.7,21.67,21.98), (23.05,21.7,27.69,21.98), (29.5,21.7,41.88,21.98), (18.33,22.12,19.08,22.4), (25.64,22.12,26.39,22.4), (2.84,23.8,15.22,24.08), (29.5,23.8,41.88,24.08), (17.46,25.48,21.24,25.76), (23.48,25.48,27.26,25.76), (2.41,27.58,15.65,27.86), (17.46,27.58,21.24,27.86), (23.48,27.58,27.26,27.86), (29.07,27.58,42.31,27.86), (2.84,28,15.22,28.28), (29.5,28,41.88,28.28), (2.84,29.68,15.22,29.96), (29.5,29.68,41.88,29.96), (2.41,33.46,15.65,33.74), (29.07,33.46,42.31,33.74), (2.84,33.88,15.22,34.16), (29.5,33.88,41.88,34.16), (9.3,34.3,11.34,34.58), (33.81,34.3,35.42,34.58), (1.12,34.72,21.24,35), (23.48,34.72,43.6,35), (1.12,38.92,21.24,39.2), (23.48,38.92,43.6,39.2), (1.12,40.6,21.24,40.88), (23.48,40.6,43.6,40.88), (11.02,41.44,33.7,41.72), (1.12,44.8,21.24,45.08), (23.48,44.8,43.6,45.08), (1.12,46.48,21.24,46.76), (23.48,46.48,43.6,46.76), (1.12,50.68,21.24,50.96), (23.48,50.68,43.6,50.96), (1.12,52.36,21.24,52.64), (23.48,52.36,43.6,52.64), (1.12,56.56,21.24,56.84), (23.48,56.56,43.6,56.84), (1.12,58.66,21.24,58.94), (23.48,58.66,43.6,58.94)])
A(current_mirror_ota, via, 14.975, 0.765, 0.15, 0.15, 1, 3, 0, 5.88)
A(current_mirror_ota, via, 29.595, 0.765, 0.15, 0.15, 1, 3, 0, 5.88)
A(current_mirror_ota, via, 8.525, 21.765, 0.15, 0.15, 1, 3, 0, 5.88)
A(current_mirror_ota, via, 36.045, 21.765, 0.15, 0.15, 1, 3, 0, 5.88)
A(current_mirror_ota, via, 33.895, 34.785, 0.15, 0.15, 1, 4, 0, 5.88)
A(current_mirror_ota, via, 11.535, 35.205, 0.15, 0.15, 1, 5, 0, 5.88)
A(current_mirror_ota, via, 33.035, 35.205, 0.15, 0.15, 1, 5, 0, 5.88)
A(current_mirror_ota, via, 33.465, 44.865, 0.15, 0.15, 1, 3, 0, 5.88)
R(current_mirror_ota, via, [(15.405,2.865,15.555,3.015), (29.165,2.865,29.315,3.015), (15.405,6.225,15.555,6.375), (29.165,6.225,29.315,6.375), (15.405,7.065,15.555,7.215), (28.735,7.065,28.885,7.215), (15.405,8.745,15.555,8.895), (29.165,8.745,29.315,8.895), (15.405,12.945,15.555,13.095), (28.735,12.945,28.885,13.095), (9.815,14.205,9.965,14.355), (23.575,14.205,23.725,14.355), (28.735,20.085,28.885,20.235), (8.955,20.505,9.105,20.655), (19.275,20.505,19.425,20.655), (25.295,20.505,25.445,20.655), (35.615,20.505,35.765,20.655), (19.275,21.345,19.425,21.495), (25.295,21.345,25.445,21.495), (18.845,21.765,18.995,21.915), (25.725,21.765,25.875,21.915), (18.415,22.185,18.565,22.335), (18.845,22.185,18.995,22.335), (25.725,22.185,25.875,22.335), (26.155,22.185,26.305,22.335), (8.955,23.865,9.105,24.015), (35.615,23.865,35.765,24.015), (19.275,25.545,19.425,25.695), (25.295,25.545,25.445,25.695), (18.845,27.645,18.995,27.795), (25.725,27.645,25.875,27.795), (9.385,28.065,9.535,28.215), (35.185,28.065,35.335,28.215), (8.955,29.745,9.105,29.895), (35.615,29.745,35.765,29.895), (9.385,33.945,9.535,34.095), (35.185,33.945,35.335,34.095), (9.385,34.365,9.535,34.515), (11.105,34.365,11.255,34.515), (33.895,34.365,34.045,34.515), (35.185,34.365,35.335,34.515), (11.105,34.785,11.255,34.935), (11.105,38.985,11.255,39.135), (33.465,38.985,33.615,39.135), (11.105,40.665,11.255,40.815), (11.105,41.505,11.255,41.655), (33.465,41.505,33.615,41.655), (11.105,44.865,11.255,45.015), (11.105,46.545,11.255,46.695), (11.105,50.745,11.255,50.895), (11.105,52.425,11.255,52.575), (11.105,56.625,11.255,56.775)])
R(current_mirror_ota, met2_pin, [(14.91,0.68,15.19,12.76), (29.53,0.68,29.81,12.76), (15.34,2.78,15.62,13.18), (29.1,2.78,29.38,8.98), (28.67,6.98,28.95,20.32), (8.89,20.42,9.17,29.98), (19.21,20.42,19.49,25.78), (25.23,20.42,25.51,25.78), (35.55,20.42,35.83,29.98), (8.46,21.68,8.74,35.465), (18.78,21.68,19.06,27.88), (25.66,21.68,25.94,27.88), (35.98,21.68,36.26,35.465), (9.32,27.98,9.6,34.6), (35.12,27.98,35.4,34.6), (11.04,34.28,11.32,56.86), (33.83,34.28,34.11,52.66), (11.47,35.12,11.75,58.96), (32.97,35.12,33.25,58.96), (33.4,38.9,33.68,56.86)])
R(current_mirror_ota, met2, [(9.75,8.635,10.03,14.44), (23.51,8.635,23.79,14.44), (18.35,17.455,18.63,22.42), (26.09,17.455,26.37,22.42)])
R(current_mirror_ota, via2, [(9.79,8.72,9.99,8.92), (14.95,8.72,15.15,8.92), (23.55,8.72,23.75,8.92), (29.57,8.72,29.77,8.92), (18.39,17.54,18.59,17.74), (26.13,17.54,26.33,17.74), (8.5,35.18,8.7,35.38), (36.02,35.18,36.22,35.38), (11.51,44,11.71,44.2), (33.01,44,33.21,44.2)])
A(current_mirror_ota, met3, -0.4, -0.4, 45.52, 0.8, 1, 7, 0, 8.82)
A(current_mirror_ota, via3, 11.74, -0.1, 0.2, 0.2, 1, 4, 0, 17.64)
A(current_mirror_ota, via3, 35.42, -0.1, 0.2, 0.2, 1, 4, 0, 17.64)
A(current_mirror_ota, via3, -0.1, 8.72, 0.2, 0.2, 1, 3, 0, 17.64)
A(current_mirror_ota, via3, 23.58, 8.72, 0.2, 0.2, 1, 3, 0, 17.64)
A(current_mirror_ota, met4, -0.59, -0.59, 1.18, 54.1, 4, 1, 11.84, 0)
R(current_mirror_ota, nsdm, [(8.6,1.68,22.36,13.44), (22.36,1.68,36.12,13.44), (8.6,15.12,22.36,21), (22.36,15.12,36.12,21), (1.72,21,16.34,22.68), (28.38,21,43,22.68), (16.34,26.88,22.36,28.56), (22.36,26.88,28.38,28.56), (0,34.44,22.36,57.96), (22.36,34.44,44.72,57.96)])
R(current_mirror_ota, psdm, [(8.6,0,22.36,1.68), (22.36,0,36.12,1.68), (8.6,13.44,22.36,15.12), (22.36,13.44,36.12,15.12), (16.34,21,22.36,26.88), (22.36,21,28.38,26.88), (1.72,22.68,16.34,34.44), (28.38,22.68,43,34.44), (0,57.96,22.36,59.64), (22.36,57.96,44.72,59.64)])
R(current_mirror_ota, L100_5, [(-0.59,-0.59,45.12,59.64)])
R(current_mirror_ota, L104_0, [(-0.59,-0.59,45.12,59.64)])
current_mirror_ota.add(gdstk.Label('DS1', (15.055,20.58), layer=68, texttype=5))
current_mirror_ota.add(gdstk.Label('DS2', (29.665,20.58), layer=68, texttype=5))
current_mirror_ota.add(gdstk.Label('VINN', (15.48,16.38), layer=68, texttype=5))
current_mirror_ota.add(gdstk.Label('VINP', (29.24,16.38), layer=68, texttype=5))
current_mirror_ota.add(gdstk.Label('SOURCE', (22.36,20.16), layer=68, texttype=5))
current_mirror_ota.add(gdstk.Label('VSS', (15.48,14.28), layer=68, texttype=5))
current_mirror_ota.add(gdstk.Label('ID', (15.48,7.98), layer=69, texttype=5))
current_mirror_ota.add(gdstk.Label('DS3', (11.18,45.57), layer=69, texttype=5))
current_mirror_ota.add(gdstk.Label('VDD', (18.92,24.78), layer=69, texttype=5))
current_mirror_ota.add(gdstk.Label('VOUT', (33.97,43.47), layer=69, texttype=5))

lib.write_gds('CURRENT_MIRROR_OTA.gds')
